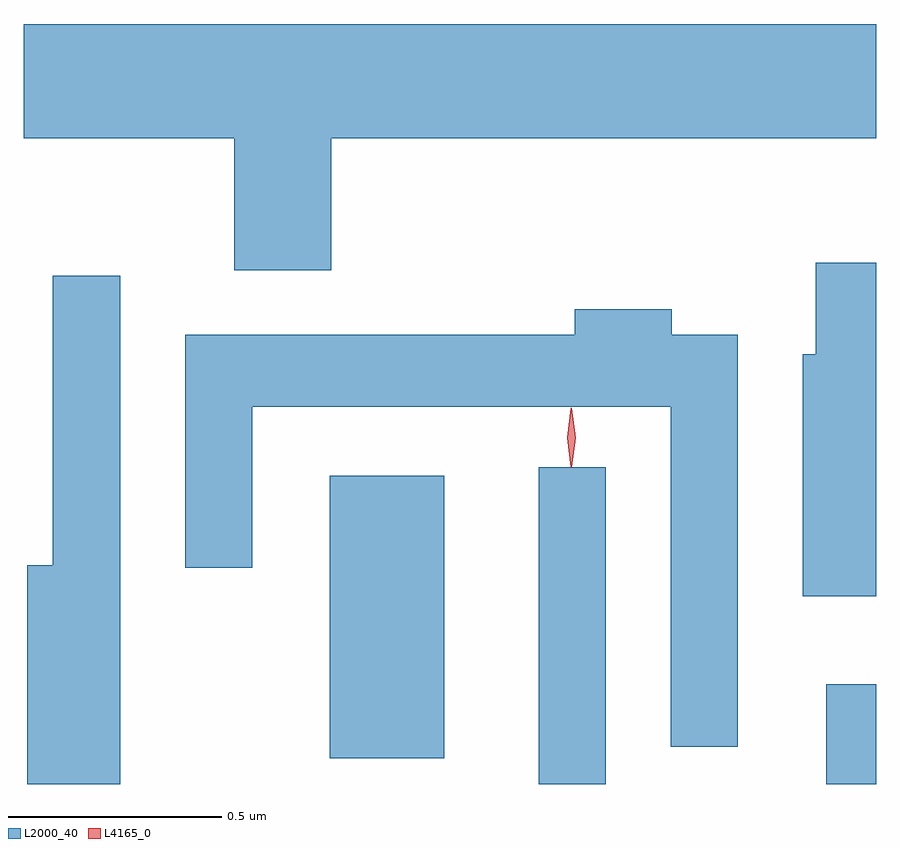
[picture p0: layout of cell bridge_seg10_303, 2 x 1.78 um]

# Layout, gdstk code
import gdstk
lib = gdstk.Library(unit=1e-6, precision=1e-09)
def R(c, l, rs):  # rectangles x0, y0, x1, y1
    for r in rs: c.add(gdstk.rectangle(r[:2], r[2:], *l))
def P(c, l, *ps):  # polygons
    for p in ps: c.add(gdstk.Polygon(p, *l))
L2000_40 = (2000, 40)
L4165_0 = (4165, 0)

bridge_seg10_303 = lib.new_cell('bridge_seg10_303')
R(bridge_seg10_303, L2000_40, [(1445.636,2176.78,1445.794,2177.523), (1446.311,2176.78,1446.428,2177.014), (1445.146,2176.841,1445.414,2177.504)])
P(bridge_seg10_303, L2000_40, [(1445.149,2178.296),(1446.428,2178.296),(1446.428,2178.564),(1444.428,2178.564),(1444.428,2178.296),(1444.921,2178.296),(1444.921,2177.986),(1445.149,2177.986)],
  [(1446.428,2178.004),(1446.286,2178.004),(1446.286,2177.789),(1446.256,2177.789),(1446.256,2177.221),(1446.428,2177.221)],
  [(1444.654,2177.973),(1444.496,2177.973),(1444.496,2177.294),(1444.436,2177.294),(1444.436,2176.78),(1444.654,2176.78)],
  [(1446.104,2177.834),(1445.949,2177.834),(1445.949,2177.894),(1445.721,2177.894),(1445.721,2177.834),(1444.806,2177.834),(1444.806,2177.288),(1444.964,2177.288),(1444.964,2177.666),(1445.946,2177.666),(1445.946,2176.868),(1446.104,2176.868)])
P(bridge_seg10_303, L4165_0, [(1445.712,2177.524),(1445.703,2177.593),(1445.712,2177.662),(1445.713,2177.663),(1445.714,2177.662),(1445.723,2177.593),(1445.714,2177.524),(1445.713,2177.524)])

lib.write_gds('bridge_seg10_303.gds')
